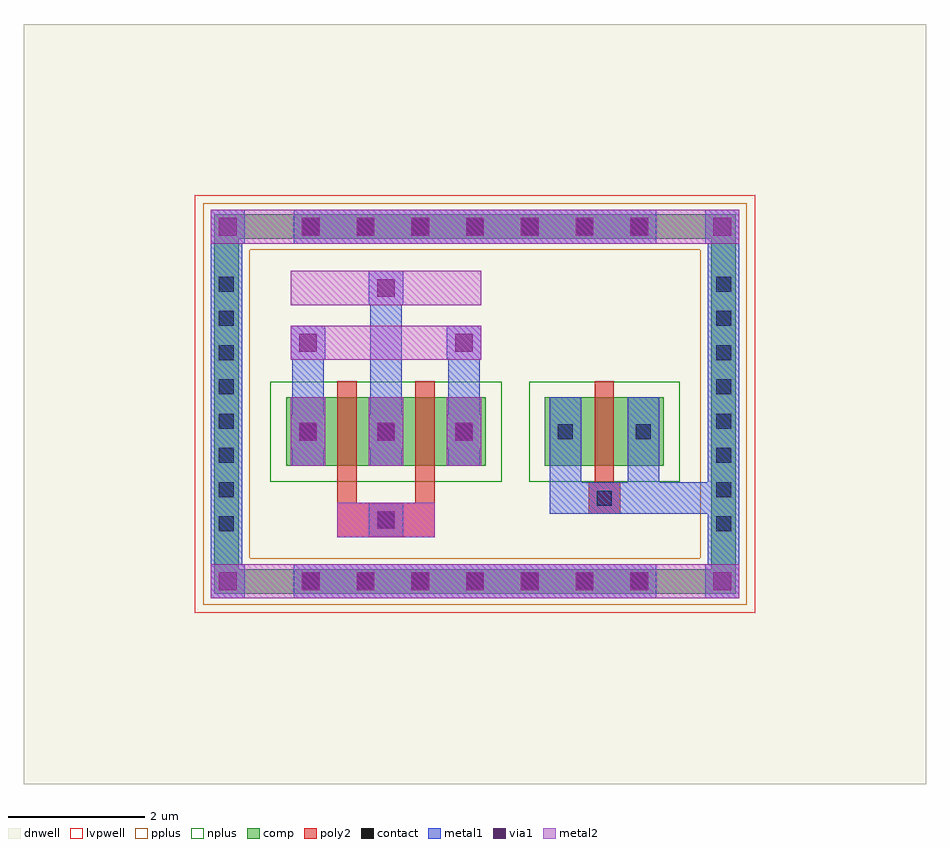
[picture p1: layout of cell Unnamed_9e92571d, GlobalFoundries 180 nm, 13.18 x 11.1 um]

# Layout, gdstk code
import gdstk
lib = gdstk.Library(unit=1e-6, precision=5e-09)
def R(c, l, rs):  # rectangles x0, y0, x1, y1
    for r in rs: c.add(gdstk.rectangle(r[:2], r[2:], *l))
def A(c, l, x, y, w, h, nx, ny, dx, dy):  # array of equal rectangles
    R(c, l, [(x+i*dx, y+j*dy, x+i*dx+w, y+j*dy+h) for i in range(nx) for j in range(ny)])
def P(c, l, *ps):  # polygons
    for p in ps: c.add(gdstk.Polygon(p, *l))
dnwell = (12, 0)
comp = (22, 0)
poly2 = (30, 0)
pplus = (31, 0)
nplus = (32, 0)
contact = (33, 0)
metal1 = (34, 0)
via1 = (35, 0)
metal2 = (36, 0)
lvpwell = (204, 0)

unnamed_9e92571d = lib.new_cell('Unnamed_9e92571d')
R(unnamed_9e92571d, dnwell, [(-6.59,-5.55,6.59,5.55)])
A(unnamed_9e92571d, comp, -2.58, -2.77, 0.36, 0.36, 7, 2, 0.8, 5.18)
A(unnamed_9e92571d, comp, -3.81, -1.93, 0.36, 0.36, 1, 8, 0, 0.5)
A(unnamed_9e92571d, comp, 3.45, -1.93, 0.36, 0.36, 1, 8, 0, 0.5)
R(unnamed_9e92571d, comp, [(-2.58,-2.77,2.58,-2.41), (-3.81,-1.93,-3.45,1.93), (3.45,-1.93,3.81,1.93), (-2.76,-0.905,0.16,0.095), (1.02,-0.905,2.76,0.095), (-2.58,2.41,2.58,2.77)])
P(unnamed_9e92571d, comp, [(3.81,2.77),(-3.81,2.77),(-3.81,-2.41),(-3.45,-2.41),(-3.45,2.41),(3.45,2.41),(3.45,-2.41),(-3.45,-2.41),(-3.81,-2.41),(-3.81,-2.77),(3.81,-2.77)])
R(unnamed_9e92571d, poly2, [(-2.01,-1.945,-0.59,-1.445), (-1.48,-1.875,-1.12,-1.515), (1.66,-1.605,2.12,-1.145), (1.71,-1.555,2.07,-1.195), (-2.01,-1.445,-1.73,-1.145), (-0.87,-1.445,-0.59,-1.145), (-2.01,-1.145,-1.73,0.335), (-0.87,-1.145,-0.59,0.335), (1.75,-1.145,2.03,0.335)])
P(unnamed_9e92571d, pplus, [(3.97,2.93),(-3.97,2.93),(-3.97,-2.25),(-3.29,-2.25),(-3.29,2.25),(3.29,2.25),(3.29,-2.25),(-3.29,-2.25),(-3.97,-2.25),(-3.97,-2.93),(3.97,-2.93)])
R(unnamed_9e92571d, nplus, [(-2.99,-1.135,0.39,0.325), (0.79,-1.135,2.99,0.325)])
A(unnamed_9e92571d, contact, -2.51, -2.7, 0.22, 0.22, 7, 2, 0.8, 5.18)
A(unnamed_9e92571d, contact, -3.74, -1.86, 0.22, 0.22, 1, 8, 0, 0.5)
A(unnamed_9e92571d, contact, 3.52, -1.86, 0.22, 0.22, 1, 8, 0, 0.5)
A(unnamed_9e92571d, contact, -2.55, -0.515, 0.22, 0.22, 3, 1, 1.14, 0)
R(unnamed_9e92571d, contact, [(-1.41,-1.805,-1.19,-1.585), (1.78,-1.485,2,-1.265), (1.21,-0.515,1.43,-0.295), (2.35,-0.515,2.57,-0.295)])
A(unnamed_9e92571d, metal1, -2.65, -2.84, 0.5, 0.5, 7, 2, 0.8, 5.18)
A(unnamed_9e92571d, metal1, -3.86, -1.98, 0.46, 0.46, 1, 8, 0, 0.5)
A(unnamed_9e92571d, metal1, 3.4, -1.98, 0.46, 0.46, 1, 8, 0, 0.5)
A(unnamed_9e92571d, metal1, -2.67, -0.905, 0.46, 1, 3, 1, 1.14, 0)
A(unnamed_9e92571d, metal1, -2.67, -0.635, 0.46, 0.46, 3, 1, 1.14, 0)
R(unnamed_9e92571d, metal1, [(-3.86,-2.84,-3.36,-2.34), (-3.86,-2.84,-3.36,-2.34), (-3.86,-2.84,-3.4,-2.41), (-2.65,-2.84,2.65,-2.34), (3.36,-2.84,3.86,-2.34), (3.36,-2.84,3.86,-2.34), (3.4,-2.84,3.86,-2.41), (-3.86,-2.41,-3.4,2.41), (3.4,-2.41,3.86,2.41), (-1.55,-1.945,-1.05,-1.445), (1.09,-1.605,1.66,-1.145), (1.09,-1.605,1.55,-0.905), (1.66,-1.605,2.12,-1.145), (1.66,-1.605,3.86,-1.145), (2.12,-1.605,2.69,-1.145), (2.23,-1.605,2.69,-0.905), (1.09,-0.905,1.55,0.095), (2.23,-0.905,2.69,0.095), (-2.69,-0.655,-2.19,-0.155), (-2.69,-0.655,-2.19,-0.155), (-1.55,-0.655,-1.05,-0.155), (-1.55,-0.655,-1.05,-0.155), (-0.41,-0.655,0.09,-0.155), (-0.41,-0.655,0.09,-0.155), (1.09,-0.635,1.55,-0.175), (2.23,-0.635,2.69,-0.175), (-2.67,0.095,-2.21,1.145), (-1.53,0.095,-1.07,1.945), (-0.39,0.095,0.07,1.145), (-2.69,0.645,-2.19,1.145), (-0.41,0.645,0.09,1.145), (-1.55,1.445,-1.05,1.945), (-3.86,2.34,-3.36,2.84), (-3.86,2.34,-3.36,2.84), (-2.65,2.34,2.65,2.84), (3.36,2.34,3.86,2.84), (3.36,2.34,3.86,2.84), (-3.86,2.41,-3.4,2.84), (3.4,2.41,3.86,2.84)])
A(unnamed_9e92571d, via1, -2.53, -2.72, 0.26, 0.26, 7, 2, 0.8, 5.18)
A(unnamed_9e92571d, via1, -2.57, -0.535, 0.26, 0.26, 3, 1, 1.14, 0)
R(unnamed_9e92571d, via1, [(-3.74,-2.72,-3.48,-2.46), (3.48,-2.72,3.74,-2.46), (-1.43,-1.825,-1.17,-1.565), (-2.57,0.765,-2.31,1.025), (-0.29,0.765,-0.03,1.025), (-1.43,1.565,-1.17,1.825), (-3.74,2.46,-3.48,2.72), (3.48,2.46,3.74,2.72)])
A(unnamed_9e92571d, metal2, -2.65, -2.84, 0.5, 0.5, 7, 2, 0.8, 5.18)
A(unnamed_9e92571d, metal2, -2.69, -0.905, 0.5, 1, 3, 1, 1.14, 0)
A(unnamed_9e92571d, metal2, -2.69, -0.655, 0.5, 0.5, 3, 1, 1.14, 0)
R(unnamed_9e92571d, metal2, [(-3.86,-2.84,-3.36,-2.34), (-3.86,-2.84,-3.36,-2.34), (-3.86,-2.84,-3.45,-2.34), (-3.45,-2.84,3.45,-2.34), (3.36,-2.84,3.86,-2.34), (3.36,-2.84,3.86,-2.34), (3.45,-2.84,3.86,-2.34), (-2.01,-1.945,-0.59,-1.445), (-1.55,-1.945,-1.05,-1.445), (-2.69,0.645,-2.19,1.145), (-2.69,0.645,0.09,1.145), (-0.41,0.645,0.09,1.145), (-2.69,1.445,0.09,1.945), (-1.55,1.445,-1.05,1.945), (-3.86,2.34,-3.36,2.84), (-3.86,2.34,-3.36,2.84), (-3.86,2.34,-3.45,2.84), (-3.45,2.34,3.45,2.84), (3.36,2.34,3.86,2.84), (3.36,2.34,3.86,2.84), (3.45,2.34,3.86,2.84)])
R(unnamed_9e92571d, lvpwell, [(-4.09,-3.05,4.09,3.05)])

lib.write_gds('Unnamed_9e92571d.gds')
